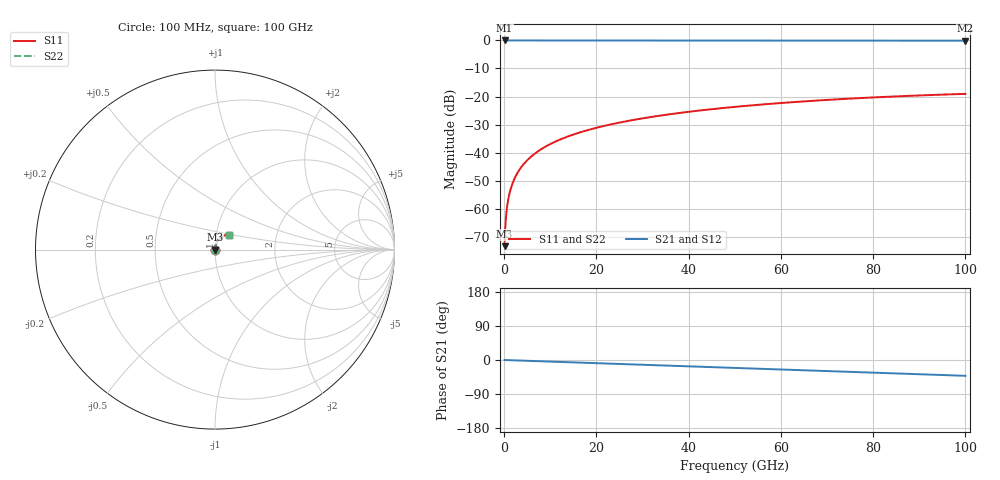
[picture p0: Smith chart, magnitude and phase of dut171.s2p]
! Touchstone file exported from HFSS 2026.1.0
!  File:  C:/ffzhzh/LocalFiles/Ansys_Project_Files/temp_train_TSV_171_1783506939_44152.aedt
!  Generated:  06:36:52 PM Jul  8, 2026
!  Design:  TSV
!  Project:  temp_train_TSV_171_1783506939_44152
! Variables:
!  h_bsmrdl = 2um
!  h_ox = 20um
!  h_rdl = 5um
!  h_sub = 79.81um
!  h_tmrdl = 5um
!  h_tsv = 79.81um
!  h_via = 3um
!  l_bsmrdl = 300um
!  l_sub = 420.92um
!  l_tmrdl = 200um
!  m_sub = 200um
!  pitch = 52.57um
!  r_tsv = 10.46um
!  s_tmrdl = 10um
!  w_bsmrdl = 18um
!  w_sub = 500um
!  w_tmrdl = 12um
!  x_tsv_center1 = 206um
!  x_tsv_center2 = 524um
!  x_tsv_center3 = 736um
!  x_tsv_center4 = 1054um
!  x_tsv_center5 = 1266um
!  x_tsv_center6 = 1584um
# GHz S MA R 50.000000
! Terminal data exported
! Port[1] = TSV1_1_T1
! Port[2] = TSV1_1_T2
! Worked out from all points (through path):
!   1000 points, 100 MHz to 100 GHz, reference 50 ohm
!   highest |S21| = 0.00 dB at 100 MHz (marker M1); lowest = -0.1 dB at 100 GHz (marker M2)
!   group delay of S21, straight-line fit = 1.16 ps
!   lowest |S11| = -73.4 dB at 100 MHz (marker M3), VSWR 1.00, Z = 50 + j0.0179 ohm
!   |S11| at or under -10 dB: start of sweep to end of sweep
!   |S22| runs from -73.4 to -19.1 dB; largest |S21 - S12| = 3.7e-15
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0.1  0.0002138 56.9  0.9999 -0.0  0.9999 -0.0  0.0002138 56.9
! Gamma 0 0 0 0
! Port Impedance 50 0 50 0
0.3  0.0005455 74.4  0.9999 -0.1  0.9999 -0.1  0.0005455 74.4
0.7  0.001177 78.7  0.9998 -0.3  0.9998 -0.3  0.001177 78.7
0.8  0.001327 79.2  0.9998 -0.3  0.9998 -0.3  0.001327 79.2
1  0.001622 80.0  0.9997 -0.4  0.9997 -0.4  0.001622 80.0
1.3  0.00206 80.9  0.9997 -0.6  0.9997 -0.6  0.00206 80.9
1.8  0.002783 81.8  0.9996 -0.8  0.9996 -0.8  0.002783 81.8
2.3  0.0035 82.4  0.9996 -1.0  0.9996 -1.0  0.0035 82.4
3  0.004493 82.8  0.9995 -1.3  0.9995 -1.3  0.004493 82.8
3.8  0.005618 83.0  0.9995 -1.6  0.9995 -1.6  0.005618 83.0
4.8  0.007012 83.1  0.9994 -2.0  0.9994 -2.0  0.007012 83.1
6  0.008676 83.1  0.9993 -2.5  0.9993 -2.5  0.008676 83.1
8.8  0.01253 82.6  0.9991 -3.7  0.9991 -3.7  0.01253 82.6
12.4  0.01744 81.6  0.9989 -5.2  0.9989 -5.2  0.01744 81.6
16.8  0.02338 80.2  0.9986 -7.1  0.9986 -7.1  0.02338 80.2
24.2  0.0332 77.6  0.9981 -10.1  0.9981 -10.1  0.0332 77.5
33.4  0.04509 74.1  0.9974 -14.0  0.9974 -14.0  0.04509 74.0
41.2  0.05482 71.0  0.9967 -17.2  0.9967 -17.2  0.05482 71.0
50.1  0.06544 67.4  0.9959 -20.9  0.9959 -20.9  0.06544 67.4
66.7  0.0836 60.8  0.9943 -27.8  0.9943 -27.8  0.0836 60.7
83.4  0.09921 54.0  0.9925 -34.8  0.9925 -34.8  0.09921 53.9
100  0.1114 47.2  0.9909 -41.7  0.9909 -41.7  0.1114 47.2
